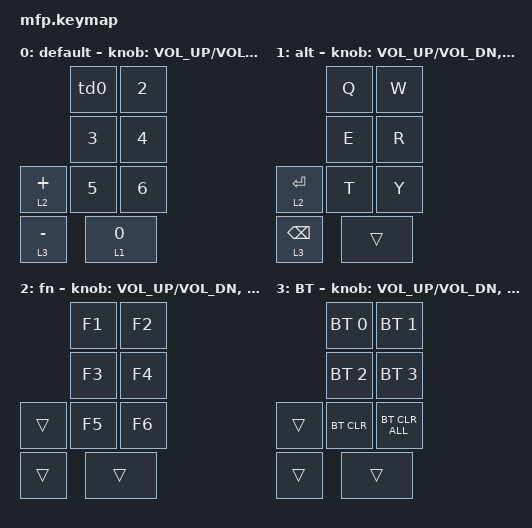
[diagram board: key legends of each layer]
/*
 * Copyright (c) 2020 The ZMK Contributors
 *
 * SPDX-License-Identifier: MIT
 */

#include <behaviors.dtsi>
#include <dt-bindings/zmk/keys.h>
#include <dt-bindings/zmk/bt.h>

#define BASE 0

/ {
    behaviors {
        td0: tap_dance_0 {
            compatible = "zmk,behavior-tap-dance";
            #binding-cells = <0>;
            tapping-term-ms = <200>;
            bindings = <&kp N1>, <&studio_unlock>;
        };
    };

    keymap {
        compatible = "zmk,keymap";

        default_layer {
            display-name = "default";
            bindings = <
            &td0   &kp N2
            &kp N3 &kp N4
&lt 2 PLUS  &kp N5 &kp N6
&lt 3 MINUS   &lt 1 N0
            >;

            sensor-bindings = <&inc_dec_kp C_VOL_UP C_VOL_DN &inc_dec_kp PG_UP PG_DN>;
        };

        alt_layer {
            display-name = "alt";
            bindings = <
                &kp Q &kp W
                &kp E &kp R
&lt 2 RETURN    &kp T &kp Y
&lt 3 BACKSPACE   &trans
            >;

            sensor-bindings = <&inc_dec_kp C_VOL_UP C_VOL_DN &inc_dec_kp PG_UP PG_DN>;
        };

        fn_layer {
            display-name = "fn";
            bindings = <
        &kp F1 &kp F2
        &kp F3 &kp F4
&trans  &kp F5 &kp F6
&trans     &trans
            >;

            sensor-bindings = <&inc_dec_kp C_VOL_UP C_VOL_DN &inc_dec_kp PG_UP PG_DN>;
        };

        bt_layer {
            display-name = "BT";
            bindings = <
          &bt BT_SEL 0 &bt BT_SEL 1
          &bt BT_SEL 2 &bt BT_SEL 3
&trans    &bt BT_CLR   &bt BT_CLR_ALL
&trans            &trans
            >;

            sensor-bindings = <&inc_dec_kp C_VOL_UP C_VOL_DN &inc_dec_kp PG_UP PG_DN>;
        };
    };

    conditional_layers {
        compatible = "zmk,conditional-layers";

        bt_layer {
            if-layers = <1 2>;
            then-layer = <3>;
        };
    };

};
